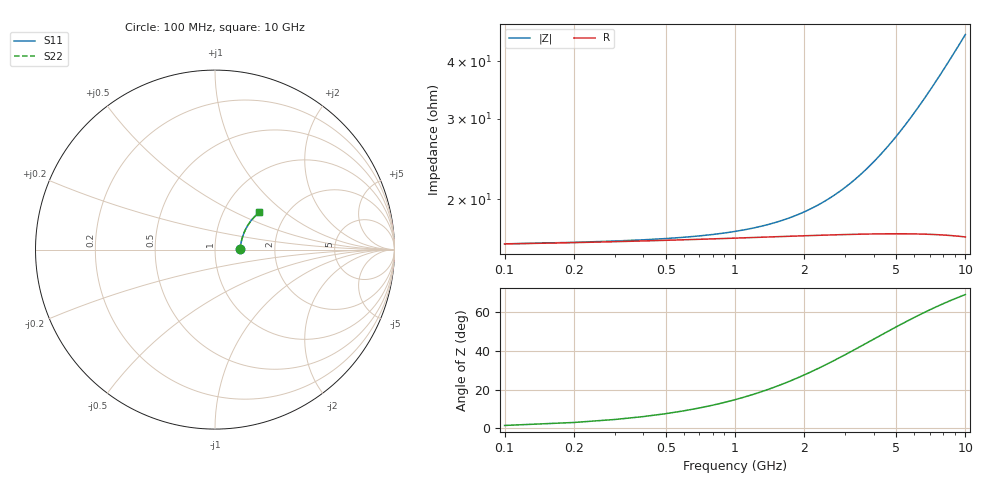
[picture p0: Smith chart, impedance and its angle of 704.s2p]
# Hz S RI R 50.00
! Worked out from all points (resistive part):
!   100 points, 100 MHz to 10 GHz, reference 50 ohm
!   read as one part in series: R = 16 ohm at 100 MHz
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1e8  0.138 0.00251  0.862 -0.00392  0.862 -0.00392  0.138 0.00251
2e8  0.1388 0.00501  0.8612 -0.00782  0.8612 -0.00782  0.1388 0.00501
3e8  0.1394 0.00751  0.8606 -0.0117  0.8606 -0.0117  0.1394 0.00751
8e8  0.1418 0.0199  0.8581 -0.0311  0.8581 -0.0311  0.1418 0.0199
1.1e9  0.1431 0.0273  0.8567 -0.0427  0.8567 -0.0427  0.1431 0.0273
1.4e9  0.1445 0.0346  0.8553 -0.0543  0.8553 -0.0543  0.1445 0.0346
1.8e9  0.1466 0.0443  0.8531 -0.0696  0.8531 -0.0696  0.1466 0.0443
2.1e9  0.1483 0.0516  0.8513 -0.0811  0.8513 -0.0811  0.1483 0.0516
2.5e9  0.1508 0.0611  0.8486 -0.0962  0.8486 -0.0962  0.1508 0.0611
2.9e9  0.1535 0.0705  0.8455 -0.1113  0.8455 -0.1113  0.1535 0.0705
3.4e9  0.1574 0.0822  0.8413 -0.1299  0.8413 -0.1299  0.1574 0.0822
4.2e9  0.1646 0.1003  0.8335 -0.1593  0.8335 -0.1593  0.1646 0.1003
5.1e9  0.1741 0.1199  0.8231 -0.1916  0.8231 -0.1916  0.1741 0.1199
5.9e9  0.1838 0.1365  0.8125 -0.2195  0.8125 -0.2195  0.1838 0.1365
6.7e9  0.1944 0.1523  0.8008 -0.2466  0.8008 -0.2466  0.1944 0.1523
7.2e9  0.2016 0.1617  0.7929 -0.2631  0.7929 -0.2631  0.2016 0.1617
7.6e9  0.2076 0.1689  0.7863 -0.276  0.7863 -0.276  0.2076 0.1689
8e9  0.2138 0.1759  0.7794 -0.2887  0.7794 -0.2887  0.2138 0.1759
8.4e9  0.2202 0.1827  0.7723 -0.3011  0.7723 -0.3011  0.2202 0.1827
8.8e9  0.2268 0.1892  0.7649 -0.3132  0.7649 -0.3132  0.2268 0.1892
9.2e9  0.2336 0.1954  0.7574 -0.3252  0.7574 -0.3252  0.2336 0.1954
1e10  0.2476 0.207  0.7416 -0.3482  0.7416 -0.3482  0.2476 0.207
